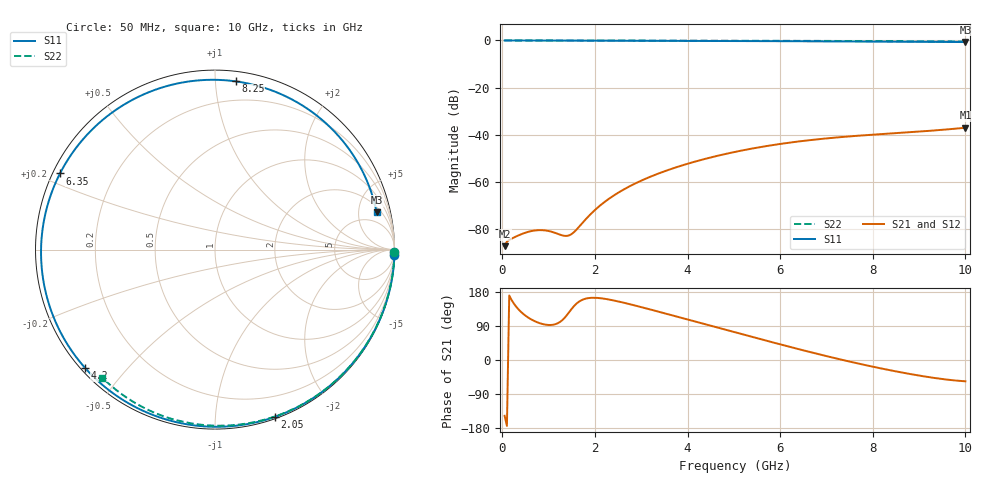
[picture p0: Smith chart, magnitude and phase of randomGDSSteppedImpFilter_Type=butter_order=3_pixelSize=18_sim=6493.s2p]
! freq	dB(S11)	phase(S11)	dB(S12)	phase(S12)
!  dB(S21)	phase(S21)	dB(S22)	phase(S22)
!S-par simulation data
#  GHz  S  DB  R 50
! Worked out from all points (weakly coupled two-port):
!   200 points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, 50 MHz to 10 GHz, reference 50 ohm
!   highest |S21| = -37.08 dB at 10 GHz (marker M1); lowest = -87.4 dB at 50 MHz (marker M2)
!   lowest |S11| = -0.7 dB at 10 GHz (marker M3), VSWR 25.44, Z = 138 + j393 ohm
!   |S11| at or under -10 dB: nowhere
!   |S22| runs from -0.4 to 0.0 dB; largest |S21 - S12| = 0
!   S11 on the Smith chart (normalised r, x): 50 MHz: 0, -65; 2.05 GHz: 0.02, -1.42; 4.2 GHz: 0.01, -0.39; 6.35 GHz: 0.02, +0.23; 8.25 GHz: 0.06, +1.13; 10 GHz: 2.76, +7.85
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0.05  -0.00 -1.8  -87.37 -147.2  -87.37 -147.2  -0.00 -0.8
0.75  -0.03 -26.4  -80.61 99.8  -80.61 99.8  -0.01 -11.3
1.6  -0.07 -55.4  -80.41 148.6  -80.41 148.6  -0.03 -24.0
1.75  -0.08 -60.4  -77.08 159.9  -77.08 159.9  -0.03 -26.2
2.05  -0.09 -70.3  -71.14 163.8  -71.14 163.8  -0.04 -30.6
2.35  -0.10 -80.1  -66.60 158.5  -66.60 158.5  -0.04 -34.9
2.65  -0.11 -89.7  -62.99 150.4  -62.99 150.4  -0.05 -39.3
3.4  -0.14 -113.2  -56.31 126.7  -56.31 126.7  -0.07 -49.9
4.2  -0.18 -137.7  -51.25 100.4  -51.25 100.4  -0.09 -60.9
5.05  -0.24 -163.9  -47.23 72.3  -47.23 72.3  -0.11 -72.2
5.7  -0.28 175.4  -44.87 51.0  -44.87 51.0  -0.13 -80.6
6.35  -0.34 153.8  -43.02 30.2  -43.02 30.2  -0.16 -88.7
6.7  -0.37 141.7  -42.21 19.3  -42.21 19.3  -0.18 -93.0
7.15  -0.40 125.4  -41.33 5.9  -41.33 5.9  -0.21 -98.5
7.55  -0.44 110.4  -40.66 -5.6  -40.66 -5.6  -0.23 -103.2
7.9  -0.47 96.9  -40.15 -15.0  -40.15 -15.0  -0.25 -107.4
8.25  -0.50 83.0  -39.69 -24.0  -39.69 -24.0  -0.28 -111.5
8.35  -0.50 79.0  -39.56 -26.5  -39.56 -26.5  -0.29 -112.6
8.8  -0.54 60.8  -38.97 -36.8  -38.97 -36.8  -0.33 -117.8
9.25  -0.58 42.6  -38.35 -45.9  -38.35 -45.9  -0.37 -122.9
9.65  -0.63 26.6  -37.71 -52.4  -37.71 -52.4  -0.41 -127.5
10  -0.68 13.0  -37.08 -56.2  -37.08 -56.2  -0.44 -131.4
